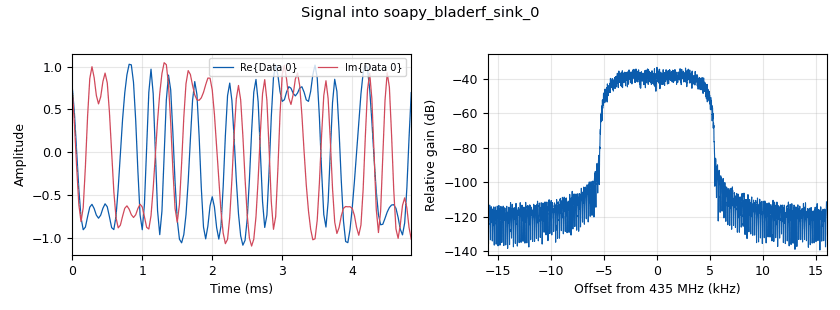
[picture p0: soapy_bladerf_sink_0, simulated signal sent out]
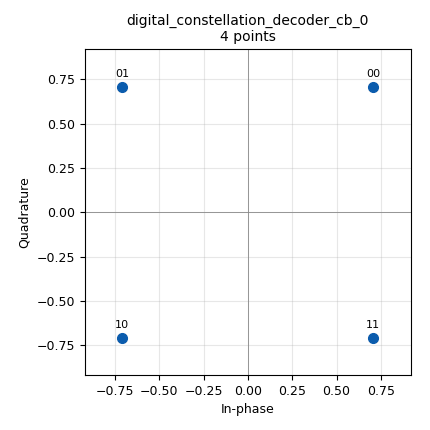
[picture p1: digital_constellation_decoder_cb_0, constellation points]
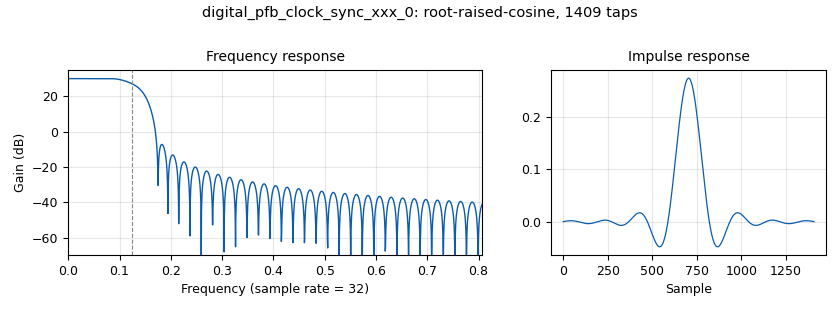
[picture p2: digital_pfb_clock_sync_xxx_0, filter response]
options:
  parameters:
    author: Barry Duggan
    category: Custom
    generate_options: qt_gui
    id: qpsk_stage6
    output_language: python
    title: qpsk_stage6
  states: {}

blocks:
- name: delay
  id: variable_qtgui_range
  parameters:
    comment: 0,3,1,1
    gui_hint: 0,3,1,1
    label: Delay
    start: '0'
    step: '1'
    stop: '200'
    value: '50'
  states: {}
- name: excess_bw
  id: variable
  parameters:
    value: '0.35'
  states: {}
- name: freq
  id: variable
  parameters:
    value: 435e6
  states: {}
- name: freq_offset
  id: variable_qtgui_range
  parameters:
    comment: 0,2,1,1
    gui_hint: 0,2,1,1
    label: 'Channel: Frequency Offset'
    start: '-0.1'
    step: '0.001'
    stop: '0.1'
    value: '0.025'
  states: {}
- name: nfilts
  id: variable
  parameters:
    value: '32'
  states: {}
- name: noise_volt
  id: variable_qtgui_range
  parameters:
    comment: 0,0,1,1
    gui_hint: 0,0,1,1
    label: 'Channel: Noise Voltage'
    start: '0'
    step: '0.01'
    stop: '1'
    value: '0.2'
  states: {}
- name: phase_bw
  id: variable
  parameters:
    value: '0.0628'
  states: {}
- name: qpsk
  id: variable_constellation_rect
  parameters:
    const_points: '[0.707+0.707j, -0.707+0.707j, -0.707-0.707j, 0.707-0.707j]'
    imag_sect: '2'
    real_sect: '2'
    rot_sym: '4'
    sym_map: '[0, 1, 2, 3]'
    w_imag_sect: '1'
    w_real_sect: '1'
  states: {}
- name: rrc_taps
  id: variable
  parameters:
    value: firdes.root_raised_cosine(nfilts, nfilts, 1.0/float(sps), 0.35, 11*sps*nfilts)
  states: {}
- name: samp_rate
  id: variable
  parameters:
    value: '32000'
  states: {}
- name: sps
  id: variable
  parameters:
    value: '4'
  states: {}
- name: time_offset
  id: variable_qtgui_range
  parameters:
    comment: 0,1,1,1
    gui_hint: 0,1,1,1
    label: 'Channel: Timing Offset'
    start: '0.999'
    step: '0.0001'
    stop: '1.001'
    value: '1.0005'
  states: {}
- name: variable_adaptive_algorithm_0
  id: variable_adaptive_algorithm
  parameters:
    cons: qpsk
    modulus: '4'
    step_size: '.0001'
    type: cma
  states: {}
- name: analog_random_source_x_0
  id: analog_random_source_x
  parameters:
    max: '256'
    min: '0'
    num_samps: '10000'
    repeat: 'True'
    type: byte
  states: {}
- name: blocks_char_to_float_0
  id: blocks_char_to_float
  parameters:
    scale: '1'
  states: {}
- name: blocks_char_to_float_0_0
  id: blocks_char_to_float
  parameters:
    scale: '1'
  states: {}
- name: blocks_char_to_float_0_0_0
  id: blocks_char_to_float
  parameters:
    scale: '1'
  states: {}
- name: blocks_delay_0
  id: blocks_delay
  parameters:
    delay: int(delay)
    type: float
  states: {}
- name: blocks_throttle2_0
  id: blocks_throttle2
  parameters:
    samples_per_second: samp_rate
    type: complex
  states: {state: disabled}
- name: blocks_unpack_k_bits_bb_0
  id: blocks_unpack_k_bits_bb
  parameters:
    k: '2'
  states: {}
- name: blocks_unpack_k_bits_bb_0_0
  id: blocks_unpack_k_bits_bb
  parameters:
    k: '8'
  states: {}
- name: channels_channel_model_0
  id: channels_channel_model
  parameters:
    comment: Epsilon is the time offset
    epsilon: time_offset
    freq_offset: freq_offset
    noise_voltage: noise_volt
    seed: '0'
    taps: '1'
  states: {state: disabled}
- name: digital_constellation_decoder_cb_0
  id: digital_constellation_decoder_cb
  parameters:
    constellation: qpsk
  states: {}
- name: digital_constellation_modulator_0
  id: digital_constellation_modulator
  parameters:
    constellation: qpsk
    differential: 'True'
    excess_bw: excess_bw
    samples_per_symbol: sps
  states: {}
- name: digital_costas_loop_cc_0
  id: digital_costas_loop_cc
  parameters:
    order: '4'
    w: phase_bw
  states: {}
- name: digital_diff_decoder_bb_0
  id: digital_diff_decoder_bb
  parameters:
    coding: digital.DIFF_DIFFERENTIAL
    modulus: '4'
  states: {}
- name: digital_linear_equalizer_0
  id: digital_linear_equalizer
  parameters:
    alg: variable_adaptive_algorithm_0
    num_taps: '15'
    sps: '2'
  states: {}
- name: digital_map_bb_0
  id: digital_map_bb
  parameters:
    map: '[0,1,2,3]'
  states: {}
- name: digital_pfb_clock_sync_xxx_0
  id: digital_pfb_clock_sync_xxx
  parameters:
    filter_size: nfilts
    init_phase: nfilts/2
    loop_bw: phase_bw
    max_dev: '1.5'
    osps: '2'
    sps: sps
    taps: rrc_taps
    type: ccf
  states: {}
- name: qtgui_const_sink_x_0
  id: qtgui_const_sink_x
  parameters:
    comment: 1,0,1,2
    gui_hint: 1,0,1,2
    name: ''
    size: '1024'
    type: complex
  states: {}
- name: qtgui_time_sink_x_0
  id: qtgui_time_sink_x
  parameters:
    comment: 1,2,1,2
    gui_hint: 1,2,1,2
    label1: ''
    label2: ''
    name: ''
    nconnections: '2'
    size: '64'
    srate: samp_rate
    tr_mode: qtgui.TRIG_MODE_AUTO
    type: float
    ymax: '2'
    ymin: '-2'
  states: {}
- name: qtgui_time_sink_x_1
  id: qtgui_time_sink_x
  parameters:
    size: '500'
    srate: samp_rate
    type: float
  states: {}
- name: soapy_bladerf_sink_0
  id: soapy_bladerf_sink
  parameters:
    center_freq: freq
    samp_rate: samp_rate
    type: fc32
  states: {}
- name: soapy_bladerf_source_0
  id: soapy_bladerf_source
  parameters:
    center_freq: freq
    samp_rate: samp_rate
    type: fc32
  states: {}
- name: virtual_sink_0
  id: virtual_sink
  parameters:
    stream_id: r1
  states: {}
- name: virtual_sink_1
  id: virtual_sink
  parameters:
    stream_id: r2
  states: {}
- name: virtual_sink_2
  id: virtual_sink
  parameters:
    stream_id: t1
  states: {}
- name: virtual_source_0
  id: virtual_source
  parameters:
    stream_id: r1
  states: {}
- name: virtual_source_1
  id: virtual_source
  parameters:
    stream_id: r2
  states: {}
- name: virtual_source_2
  id: virtual_source
  parameters:
    stream_id: t1
  states: {}

connections:
- [analog_random_source_x_0, '0', digital_constellation_modulator_0, '0']
- [analog_random_source_x_0, '0', virtual_sink_2, '0']
- [blocks_char_to_float_0, '0', qtgui_time_sink_x_1, '0']
- [blocks_char_to_float_0_0, '0', qtgui_time_sink_x_0, '0']
- [blocks_char_to_float_0_0_0, '0', blocks_delay_0, '0']
- [blocks_delay_0, '0', qtgui_time_sink_x_0, '1']
- [blocks_throttle2_0, '0', channels_channel_model_0, '0']
- [blocks_unpack_k_bits_bb_0, '0', blocks_char_to_float_0_0, '0']
- [blocks_unpack_k_bits_bb_0_0, '0', blocks_char_to_float_0_0_0, '0']
- [channels_channel_model_0, '0', digital_pfb_clock_sync_xxx_0, '0']
- [digital_constellation_decoder_cb_0, '0', blocks_char_to_float_0, '0']
- [digital_constellation_decoder_cb_0, '0', digital_diff_decoder_bb_0, '0']
- [digital_constellation_modulator_0, '0', blocks_throttle2_0, '0']
- [digital_constellation_modulator_0, '0', soapy_bladerf_sink_0, '0']
- [digital_costas_loop_cc_0, '0', digital_constellation_decoder_cb_0, '0']
- [digital_costas_loop_cc_0, '0', qtgui_const_sink_x_0, '0']
- [digital_diff_decoder_bb_0, '0', digital_map_bb_0, '0']
- [digital_linear_equalizer_0, '0', virtual_sink_0, '0']
- [digital_map_bb_0, '0', virtual_sink_1, '0']
- [digital_pfb_clock_sync_xxx_0, '0', digital_linear_equalizer_0, '0']
- [soapy_bladerf_source_0, '0', digital_pfb_clock_sync_xxx_0, '0']
- [virtual_source_0, '0', digital_costas_loop_cc_0, '0']
- [virtual_source_1, '0', blocks_unpack_k_bits_bb_0, '0']
- [virtual_source_2, '0', blocks_unpack_k_bits_bb_0_0, '0']

metadata:
  file_format: 1
  grc_version: 3.10.12.0
